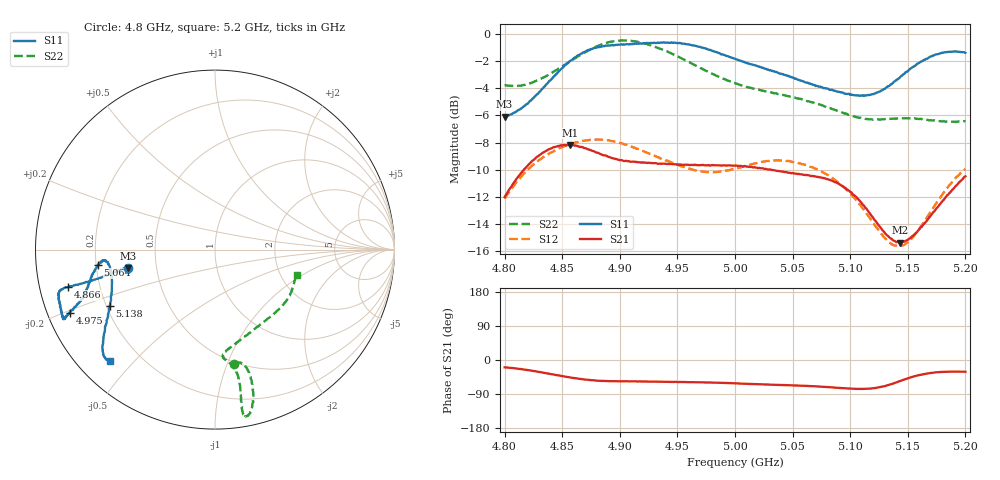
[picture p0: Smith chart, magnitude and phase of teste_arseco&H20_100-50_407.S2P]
! Network Analyzer HP8722D
! Hewlett-Packard
! Data name: Linha & Wilkinson
! Saver's name: Rodrigo Anjos
! Comments: Teste da utilização de aquisição
! continua pelo VNA HP8722D
! Time and date: 6/5/2025 15:57
!  Frequency  S11  S21  S12  S22
# HZ  S  MA R 50
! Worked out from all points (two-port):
!   401 points, 4.8 GHz to 5.2 GHz, reference 50 ohm
!   highest |S21| = -8.16 dB at 4.857 GHz (marker M1); lowest = -15.3 dB at 5.143 GHz (marker M2)
!   |S21| within 3 dB of the highest: 4.806 GHz to 5.092 GHz (286.1 MHz wide, 5.78 % of centre); 5.192073 GHz to end of sweep
!   lowest |S11| = -6.1 dB at 4.8 GHz (marker M3), VSWR 2.97, Z = 17 - j4.6 ohm
!   |S11| at or under -10 dB: nowhere
!   |S22| runs from -6.5 to -0.5 dB; largest |S21 - S12| = 0.62
!   S11 on the Smith chart (normalised r, x): 4.8 GHz: 0.34, -0.09; 4.866 GHz: 0.09, -0.12; 4.975 GHz: 0.07, -0.21; 5.064 GHz: 0.21, -0.06; 5.138 GHz: 0.21, -0.24; 5.2 GHz: 0.09, -0.43
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4.8e9  0.4959 -168.1  0.2512 -19.5  0.2478 -140.7  0.648 -80.4
4.828e9  0.5988 -167.0  0.3533 -30.3  0.3374 -144.5  0.6743 -75.3
4.857e9  0.7955 -165.7  0.3908 -46.1  0.393 -150.0  0.7917 -74.7
4.866e9  0.8431 -165.7  0.3838 -50.0  0.4023 -151.6  0.8356 -75.1
4.867e9  0.847 -165.7  0.3841 -50.6  0.4033 -151.8  0.8418 -75.4
4.879e9  0.8892 -165.4  0.3669 -54.1  0.4081 -153.9  0.8958 -76.6
4.901e9  0.9153 -162.2  0.3437 -56.1  0.3964 -156.6  0.9453 -79.1
4.934e9  0.9259 -156.2  0.3333 -57.4  0.3514 -155.4  0.8838 -80.4
4.953e9  0.9232 -155.5  0.3308 -58.0  0.3262 -151.9  0.8149 -79.7
4.975e9  0.8815 -156.5  0.3289 -59.3  0.3105 -145.1  0.7304 -79.7
5e9  0.8095 -158.9  0.3276 -61.5  0.3198 -137.1  0.6589 -81.2
5.036e9  0.7239 -165.5  0.3138 -65.8  0.3428 -134.2  0.6041 -85.7
5.064e9  0.6577 -172.5  0.3019 -68.7  0.3266 -136.4  0.565 -83.4
5.067e9  0.6525 -172.8  0.3006 -68.9  0.3234 -136.5  0.5592 -82.7
5.101e9  0.5988 -172.0  0.2615 -75.6  0.2562 -138.7  0.5009 -66.6
5.116e9  0.5959 -165.5  0.2216 -75.8  0.2132 -135.5  0.4859 -55.8
5.134e9  0.6433 -154.1  0.1786 -65.5  0.1712 -120.9  0.4867 -43.4
5.138e9  0.6668 -151.7  0.1737 -61.3  0.1668 -115.6  0.4877 -40.8
5.143e9  0.6899 -149.3  0.1709 -56.0  0.1658 -109.2  0.4882 -38.0
5.154e9  0.7538 -144.4  0.1804 -44.6  0.1782 -95.1  0.4881 -32.4
5.172e9  0.8324 -138.9  0.2207 -33.4  0.2291 -81.1  0.4801 -24.5
5.2e9  0.8515 -133.4  0.2995 -31.2  0.3187 -76.7  0.4768 -17.5
